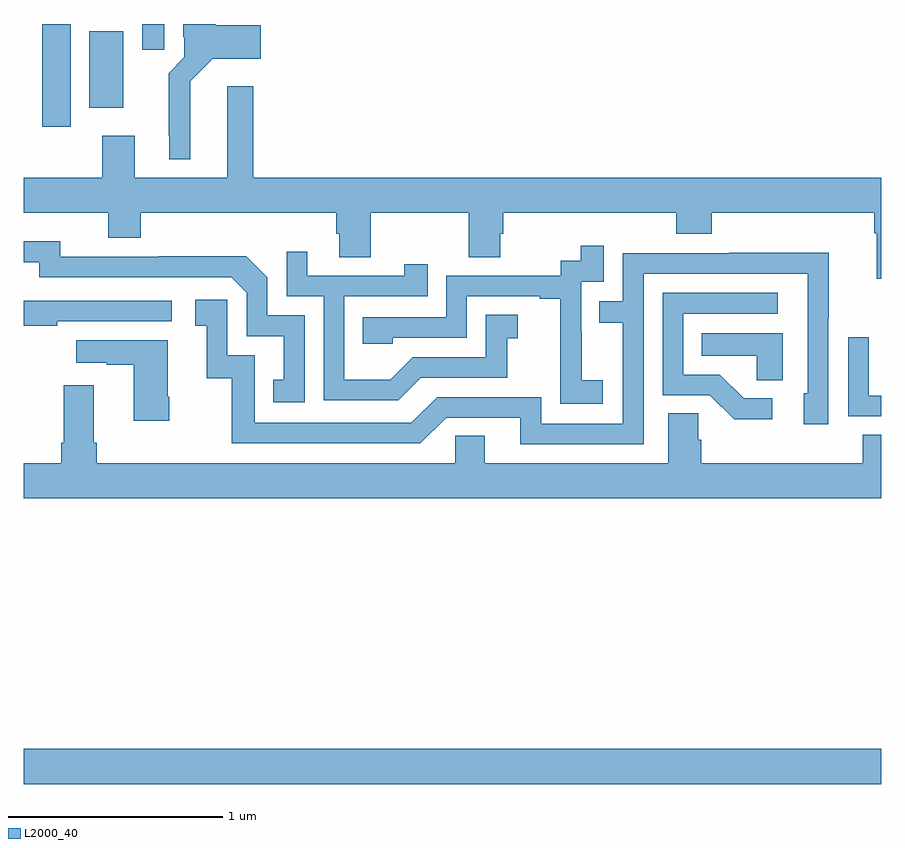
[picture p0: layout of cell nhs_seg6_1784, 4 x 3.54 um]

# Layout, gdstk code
import gdstk
lib = gdstk.Library(unit=1e-6, precision=1e-09)
def R(c, l, rs):  # rectangles x0, y0, x1, y1
    for r in rs: c.add(gdstk.rectangle(r[:2], r[2:], *l))
def P(c, l, *ps):  # polygons
    for p in ps: c.add(gdstk.Polygon(p, *l))
L2000_40 = (2000, 40)

nhs_seg6_1784 = lib.new_cell('nhs_seg6_1784')
R(nhs_seg6_1784, L2000_40, [(217,993.956,221,994.12), (217.088,997.02,217.219,997.5), (217.307,997.11,217.465,997.466), (217.553,997.38,217.657,997.5)])
P(nhs_seg6_1784, L2000_40, [(217.777,997.232),(217.878,997.334),(217.878,997.337),(218.107,997.337),(218.107,997.495),(217.895,997.495),(217.895,997.5),(217.745,997.5),(217.745,997.438),(217.749,997.438),(217.749,997.344),(217.676,997.271),(217.676,996.979),(217.679,996.979),(217.679,996.869),(217.777,996.869)],
  [(221,996.784),(218.072,996.784),(218.072,997.21),(217.949,997.21),(217.949,996.784),(217.519,996.784),(217.519,996.979),(217.367,996.979),(217.367,996.784),(217,996.784),(217,996.62),(217.394,996.62),(217.394,996.503),(217.547,996.503),(217.547,996.62),(218.459,996.62),(218.459,996.522),(218.471,996.522),(218.471,996.412),(218.619,996.412),(218.619,996.62),(219.076,996.62),(219.076,996.412),(219.223,996.412),(219.223,996.522),(219.236,996.522),(219.236,996.62),(220.043,996.62),(220.043,996.521),(220.208,996.521),(220.208,996.62),(220.967,996.62),(220.967,996.524),(220.979,996.524),(220.979,996.311),(221,996.311)],
  [(218.31,996.141),(218.136,996.141),(218.136,996.318),(218.038,996.416),(217.63,996.416),(217.63,996.414),(217.17,996.414),(217.17,996.487),(217,996.487),(217,996.39),(217.074,996.39),(217.074,996.318),(217.968,996.318),(218.04,996.246),(218.04,996.045),(218.213,996.045),(218.213,995.841),(218.164,995.841),(218.164,995.736),(218.31,995.736)],
  [(219.7,995.839),(219.602,995.839),(219.602,996.068),(219.6,996.068),(219.6,996.297),(219.705,996.297),(219.705,996.466),(219.597,996.466),(219.597,996.396),(219.504,996.396),(219.504,996.327),(218.97,996.327),(218.97,996.132),(218.581,996.132),(218.581,996.009),(218.721,996.009),(218.721,996.036),(219.066,996.036),(219.066,996.231),(219.407,996.231),(219.407,996.219),(219.503,996.219),(219.503,995.935),(219.502,995.935),(219.502,995.729),(219.7,995.729)],
  [(218.851,995.85),(219.255,995.85),(219.255,996.035),(219.304,996.035),(219.304,996.145),(219.156,996.145),(219.156,995.946),(218.814,995.946),(218.71,995.842),(218.496,995.842),(218.496,996.231),(218.885,996.231),(218.885,996.379),(218.774,996.379),(218.774,996.327),(218.323,996.327),(218.323,996.439),(218.226,996.439),(218.226,996.231),(218.4,996.231),(218.4,995.745),(218.746,995.745)],
  [(219.891,996.336),(220.656,996.336),(220.656,995.778),(220.637,995.778),(220.637,995.634),(220.752,995.634),(220.752,996.127),(220.755,996.127),(220.755,996.434),(220.291,996.434),(220.291,996.432),(219.795,996.432),(219.795,996.207),(219.685,996.207),(219.685,996.106),(219.795,996.106),(219.795,995.637),(219.414,995.637),(219.414,995.76),(218.928,995.76),(218.808,995.64),(218.079,995.64),(218.079,995.955),(217.95,995.955),(217.95,996.214),(217.8,996.214),(217.8,996.093),(217.853,996.093),(217.853,995.847),(217.971,995.847),(217.971,995.544),(218.85,995.544),(218.97,995.664),(219.317,995.664),(219.317,995.541),(219.891,995.541)],
  [(220.492,995.754),(220.357,995.754),(220.246,995.865),(220.077,995.865),(220.077,996.15),(220.516,996.15),(220.516,996.246),(219.981,996.246),(219.981,995.769),(220.2,995.769),(220.313,995.657),(220.492,995.657)],
  [(217.157,996.114),(217.69,996.114),(217.69,996.21),(217,996.21),(217,996.094),(217.157,996.094)],
  [(220.54,996.058),(220.162,996.058),(220.162,995.954),(220.419,995.954),(220.419,995.839),(220.54,995.839)],
  [(221,995.766),(220.941,995.766),(220.941,996.04),(220.845,996.04),(220.845,995.67),(221,995.67)],
  [(217.68,995.761),(217.672,995.761),(217.672,996.025),(217.245,996.025),(217.245,995.921),(217.388,995.921),(217.388,995.911),(217.514,995.911),(217.514,995.649),(217.68,995.649)],
  [(221,995.585),(220.913,995.585),(220.913,995.452),(220.16,995.452),(220.16,995.561),(220.146,995.561),(220.146,995.684),(220.007,995.684),(220.007,995.452),(219.151,995.452),(219.151,995.579),(219.012,995.579),(219.012,995.452),(217.34,995.452),(217.34,995.548),(217.327,995.548),(217.327,995.815),(217.187,995.815),(217.187,995.548),(217.175,995.548),(217.175,995.452),(217,995.452),(217,995.288),(221,995.288)])

lib.write_gds('nhs_seg6_1784.gds')
